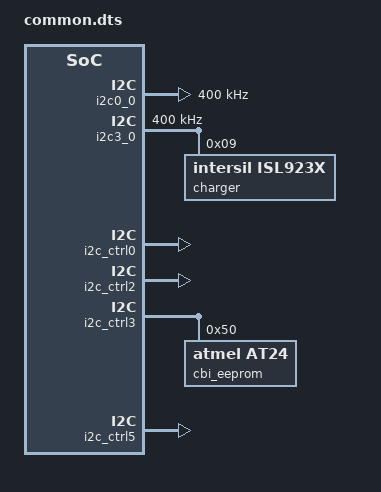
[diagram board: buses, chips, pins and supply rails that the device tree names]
/* Copyright 2022 The ChromiumOS Authors
 * Use of this source code is governed by a BSD-style license that can be
 * found in the LICENSE file.
 */

#include <board-overlays/native_posix.dts>
#include <npcx_emul.dts>

/ {
	usbc {
		#address-cells = <1>;
		#size-cells = <0>;
		port0@0 {
			compatible = "named-usbc-port";
			reg = <0>;
		};
		port1@1 {
			compatible = "named-usbc-port";
			reg = <1>;
		};
	};

	/* These are temporary just to get the test to build.
	 * Should be replaced with the correct accel drivers,
	 * but we're not testing that code right now anyway.
	 */
	motionsense-sensor-data {
		bmi160_data: bmi160-drv-data {
			compatible = "cros-ec,drvdata-bmi160";
			status = "okay";
		};
	};
	motionsense-sensor {
		base_accel: ms-bmi160-accel {
			compatible = "cros-ec,bmi160-accel";
			status = "okay";

			active-mask = "SENSOR_ACTIVE_S0_S3_S5";
			location = "MOTIONSENSE_LOC_BASE";
			drv-data = <&bmi160_data>;
			default-range = <4>;
			i2c-spi-addr-flags = "BMI160_ADDR0_FLAGS";
		};
		lid_accel: ms-bmi160-accel2 {
			compatible = "cros-ec,bmi160-accel";
			status = "okay";

			active-mask = "SENSOR_ACTIVE_S0_S3_S5";
			location = "MOTIONSENSE_LOC_BASE";
			drv-data = <&bmi160_data>;
			default-range = <4>;
			i2c-spi-addr-flags = "BMI160_ADDR0_FLAGS";
		};
	};
	motionsense-sensor-info {
		compatible = "cros-ec,motionsense-sensor-info";

		/*
		 * list of GPIO interrupts that have to
		 * be enabled at initial stage
		 */
		sensor-irqs = <&int_base_imu>;
		/* list of sensors in force mode */
		accel-force-mode-sensors = <&lid_accel>;
	};
	named-i2c-ports {
		compatible = "named-i2c-ports";
		i2c_sensor: i2c-sensor {
			i2c-port = <&i2c0_0>;
			enum-names = "I2C_PORT_SENSOR";
		};
		i2c_eeprom: i2c-eeprom {
			i2c-port = <&i2c3_0>;
			enum-names = "I2C_PORT_EEPROM";
		};
	};
	/* TODO(jbettis): Move the i2c ports and pinctrls to npcx_emul.dts,
	 * and add all of them instead of just these.
	 */
	soc-if {
		i2c0_0: io_i2c_ctrl0_port0 {
			compatible = "nuvoton,npcx-i2c-port";
			#address-cells = <1>;
			#size-cells = <0>;
			port = <0x00>;
			controller = <&i2c_ctrl0>;
			status = "disabled";
		};
		i2c3_0: io_i2c_ctrl3_port0 {
			compatible = "nuvoton,npcx-i2c-port";
			#address-cells = <1>;
			#size-cells = <0>;
			port = <0x30>;
			controller = <&i2c_ctrl3>;
			status = "disabled";
		};
	};
	pinctrl: pinctrl {
		compatible = "nuvoton,npcx-pinctrl";
		status = "okay";
		/* I2C peripheral interfaces */
		/omit-if-no-ref/ i2c0_0_sda_scl_gpb4_b5: periph-i2c0-0 {
			pinmux = <&alt2_i2c0_0_sl>;
			periph-pupd = <0x00 0>;
		};
		/omit-if-no-ref/ i2c3_0_sda_scl_gpd0_d1: periph-i2c3-0 {
			pinmux = <&alt2_i2c3_0_sl>;
			periph-pupd = <0x00 6>;
		};
	};
	npcx-alts-map {
		compatible = "nuvoton,npcx-pinctrl-conf";
		/* SCFG DEVALT 2 */
		alt2_i2c0_0_sl: alt20 {
			alts = <&scfg 0x02 0x0 0>;
		};
		alt2_i2c3_0_sl: alt26 {
			alts = <&scfg 0x02 0x6 0>;
		};
	};
};

&i2c0_0 {
	status = "okay";
	clock-frequency = <I2C_BITRATE_FAST>;
	pinctrl-0 = <&i2c0_0_sda_scl_gpb4_b5>;
	pinctrl-names = "default";
};

&i2c_ctrl0 {
	status = "okay";
};

&i2c_ctrl2 {
	status = "okay";
};

i2c_pwr_cbi: &i2c3_0 {
	status = "okay";
	clock-frequency = <I2C_BITRATE_FAST>;
	pinctrl-0 = <&i2c3_0_sda_scl_gpd0_d1>;
	pinctrl-names = "default";

	charger: isl923x@9 {
		compatible = "intersil,isl923x";
		status = "okay";
		reg = <0x9>;
	};
};

&i2c_ctrl3 {
	status = "okay";
};

&i2c_ctrl5 {
	status = "okay";
};

&i2c_ctrl3 {
	cbi_eeprom: eeprom@50 {
		compatible = "atmel,at24";
		reg = <0x50>;
		size = <2048>;
		pagesize = <16>;
		address-width = <8>;
		timeout = <5>;
	};
};
